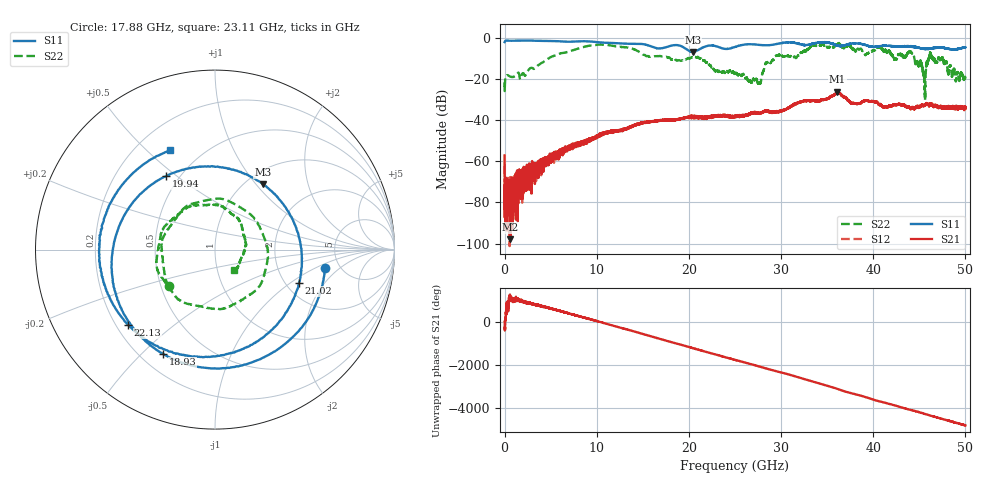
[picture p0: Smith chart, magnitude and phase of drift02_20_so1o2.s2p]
!Created with skrf (http://scikit-rf.org).
# Hz S RI R 50.0
!freq ReS11 ImS11 ReS21 ImS21 ReS12 ImS12 ReS22 ImS22
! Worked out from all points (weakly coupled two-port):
!   10001 points, 300 kHz to 50 GHz, reference 50 ohm
!   highest |S21| = -26.30 dB at 36.12 GHz (marker M1); lowest = -98.0 dB at 620.3 MHz (marker M2)
!   lowest |S11| = -6.9 dB at 20.44 GHz (marker M3), VSWR 2.64, Z = 59.4 + j54.2 ohm
!   |S11| at or under -10 dB: nowhere
!   |S22| runs from -30.6 to -2.6 dB; largest |S21 - S12| = 0.005
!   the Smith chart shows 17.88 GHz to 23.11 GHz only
!   S11 on the Smith chart (normalised r, x): 17.88 GHz: 3.83, -1.28; 18.93 GHz: 0.29, -0.58; 19.94 GHz: 0.42, +0.46; 21.02 GHz: 2.36, -1.17; 22.13 GHz: 0.25, -0.35; 23.11 GHz: 0.34, +0.59
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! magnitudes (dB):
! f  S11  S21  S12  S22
! 300 kHz  -2.1  -57.2  -62.1  -21.8
! 255.3 MHz  -1.4  -86.2  -68.1  -18.2
! 620.3 MHz  -1.5  -98.0  -73.0  -18.9
! 8.335 GHz  -1.7  -51.1  -51.1  -4.8
! 16.67 GHz  -5.2  -40.5  -40.3  -9.0
! 17.88 GHz  -4.1  -40.1  -40.0  -9.7
! 18.93 GHz  -3.7  -39.4  -39.5  -10.9
! 19.94 GHz  -6.2  -38.6  -38.4  -9.9
! 20.44 GHz  -6.9  -39.0  -38.6  -9.8
! 21.02 GHz  -6.0  -38.6  -38.5  -9.5
! 22.13 GHz  -3.9  -38.5  -38.7  -12.8
! 23.11 GHz  -4.3  -38.2  -37.8  -16.2
! 25 GHz  -4.5  -38.2  -38.2  -17.5
! 27.62 GHz  -3.5  -36.8  -36.6  -21.8
! 28.5 GHz  -3.7  -35.7  -35.5  -12.2
! 33.34 GHz  -3.0  -30.6  -30.6  -3.8
! 36.12 GHz  -4.0  -26.3  -26.9  -3.3
! 41.67 GHz  -4.0  -33.4  -33.4  -6.1
! 44.12 GHz  -4.1  -34.5  -34.5  -7.2
! 45.5 GHz  -5.3  -33.0  -32.9  -18.6
! 46.25 GHz  -5.2  -32.0  -32.3  -8.2
! 50 GHz  -4.7  -33.9  -33.9  -19.1
